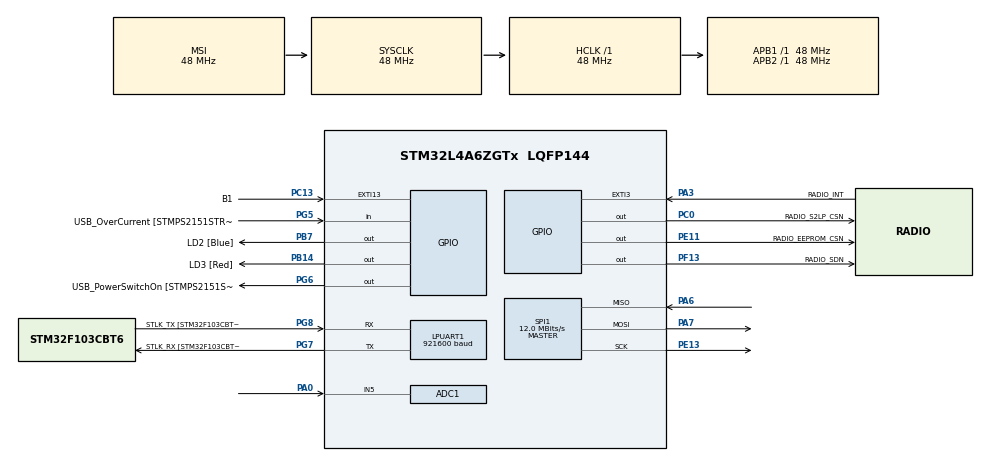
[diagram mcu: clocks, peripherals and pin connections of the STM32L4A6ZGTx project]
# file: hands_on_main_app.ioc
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ADC1.Channel-0\#ChannelRegularConversion=ADC_CHANNEL_5
ADC1.ClockPrescaler=ADC_CLOCK_ASYNC_DIV10
ADC1.DMAContinuousRequests=ENABLE
ADC1.ExternalTrigConv=ADC_EXTERNALTRIG_T3_TRGO
ADC1.NbrOfConversionFlag=1
ADC1.OffsetNumber-0\#ChannelRegularConversion=ADC_OFFSET_NONE
ADC1.Rank-0\#ChannelRegularConversion=1
ADC1.SamplingTime-0\#ChannelRegularConversion=ADC_SAMPLETIME_2CYCLES_5
ADC1.master=1
Dma.ADC1.0.Direction=DMA_PERIPH_TO_MEMORY
Dma.ADC1.0.Instance=DMA1_Channel1
Dma.ADC1.0.MemDataAlignment=DMA_MDATAALIGN_HALFWORD
Dma.ADC1.0.MemInc=DMA_MINC_ENABLE
Dma.ADC1.0.Mode=DMA_CIRCULAR
Dma.ADC1.0.PeriphDataAlignment=DMA_PDATAALIGN_HALFWORD
Dma.ADC1.0.PeriphInc=DMA_PINC_DISABLE
Dma.ADC1.0.Priority=DMA_PRIORITY_LOW
Dma.Request0=ADC1
LPUART1.AutoBaudRateEnableParam=UART_ADVFEATURE_AUTOBAUDRATE_DISABLE
LPUART1.BaudRate=921600
LPUART1.DMADisableonRxErrorParam=UART_ADVFEATURE_DMA_ENABLEONRXERROR
LPUART1.DataInvertParam=UART_ADVFEATURE_DATAINV_DISABLE
LPUART1.MSBFirstParam=UART_ADVFEATURE_MSBFIRST_DISABLE
LPUART1.Mode=UART_MODE_TX_RX
LPUART1.OneBitSampling=UART_ONE_BIT_SAMPLE_DISABLE
LPUART1.OverrunDisableParam=UART_ADVFEATURE_OVERRUN_ENABLE
LPUART1.Parity=UART_PARITY_NONE
LPUART1.RxPinLevelInvertParam=UART_ADVFEATURE_RXINV_DISABLE
LPUART1.StopBits=UART_STOPBITS_1
LPUART1.SwapParam=UART_ADVFEATURE_SWAP_DISABLE
LPUART1.TxPinLevelInvertParam=UART_ADVFEATURE_TXINV_DISABLE
LPUART1.WordLength=UART_WORDLENGTH_8B
Mcu.Family=STM32L4
Mcu.Name=STM32L4A6ZGTx
Mcu.Package=LQFP144
NVIC.DMA1_Channel1_IRQn=true\:1\:0\:true\:false\:true\:false\:true\:true
NVIC.EXTI15_10_IRQn=true\:0\:0\:false\:false\:true\:true\:true\:true
NVIC.EXTI3_IRQn=true\:0\:0\:false\:false\:true\:true\:true\:true
NVIC.PriorityGroup=NVIC_PRIORITYGROUP_4
NVIC.TIM3_IRQn=true\:0\:0\:true\:false\:true\:true\:true\:true
PA0.Signal=ADCx_IN5
PA10.GPIO_Label=USB_ID
PA10.Signal=USB_OTG_FS_ID
PA11.GPIO_Label=USB_DM
PA11.Signal=USB_OTG_FS_DM
PA12.GPIO_Label=USB_DP
PA12.Signal=USB_OTG_FS_DP
PA13\ (JTMS/SWDIO).GPIO_Label=TMS
PA13\ (JTMS/SWDIO).Mode=Trace_Asynchronous_SW
PA13\ (JTMS/SWDIO).Signal=SYS_JTMS-SWDIO
PA14\ (JTCK/SWCLK).GPIO_Label=TCK
PA14\ (JTCK/SWCLK).Mode=Trace_Asynchronous_SW
PA14\ (JTCK/SWCLK).Signal=SYS_JTCK-SWCLK
PA3.GPIO_Label=RADIO_INT
PA3.GPIO_ModeDefaultEXTI=GPIO_MODE_IT_FALLING
PA3.Signal=GPXTI3
PA6.Mode=Full_Duplex_Master
PA6.Signal=SPI1_MISO
PA7.Mode=Full_Duplex_Master
PA7.Signal=SPI1_MOSI
PA8.GPIO_Label=USB_SOF [TP1]
PA8.Signal=USB_OTG_FS_SOF
PA9.GPIO_Label=USB_VBUS
PA9.Signal=USB_OTG_FS_VBUS
PB14.GPIO_Label=LD3 [Red]
PB14.Signal=GPIO_Output
PB3\ (JTDO/TRACESWO).GPIO_Label=SWO
PB3\ (JTDO/TRACESWO).Mode=Trace_Asynchronous_SW
PB3\ (JTDO/TRACESWO).Signal=SYS_JTDO-SWO
PB7.GPIO_Label=LD2 [Blue]
PB7.Signal=GPIO_Output
PC0.GPIO_Label=RADIO_S2LP_CSN
PC0.GPIO_Speed=GPIO_SPEED_FREQ_VERY_HIGH
PC0.PinState=GPIO_PIN_SET
PC0.Signal=GPIO_Output
PC13.GPIO_Label=B1
PC13.GPIO_ModeDefaultEXTI=GPIO_MODE_IT_RISING
PC13.Signal=GPXTI13
PC14-OSC32_IN\ (PC14).Mode=LSE-External-Oscillator
PC14-OSC32_IN\ (PC14).Signal=RCC_OSC32_IN
PC15-OSC32_OUT\ (PC15).Mode=LSE-External-Oscillator
PC15-OSC32_OUT\ (PC15).Signal=RCC_OSC32_OUT
PE11.GPIO_Label=RADIO_EEPROM_CSN
PE11.PinState=GPIO_PIN_SET
PE11.Signal=GPIO_Output
PE13.Mode=Full_Duplex_Master
PE13.Signal=SPI1_SCK
PF13.GPIO_Label=RADIO_SDN
PF13.PinState=GPIO_PIN_SET
PF13.Signal=GPIO_Output
PG5.GPIO_Label=USB_OverCurrent [STMPS2151STR_FAULT]
PG5.Signal=GPIO_Input
PG6.GPIO_Label=USB_PowerSwitchOn [STMPS2151STR_EN]
PG6.Signal=GPIO_Output
PG7.GPIO_Label=STLK_RX [STM32F103CBT6_PA3]
PG7.Mode=Asynchronous
PG7.Signal=LPUART1_TX
PG8.GPIO_Label=STLK_TX [STM32F103CBT6_PA2]
PG8.Mode=Asynchronous
PG8.Signal=LPUART1_RX
PH1-OSC_OUT\ (PH1).Signal=RCC_OSC_OUT
ProjectManager.HeapSize=0x200
ProjectManager.StackSize=0x400
ProjectManager.TargetToolchain=STM32CubeIDE
RCC.ADCCLockSelection=RCC_ADCCLKSOURCE_SYSCLK
RCC.ADCFreq_Value=48000000
RCC.AHBFreq_Value=48000000
RCC.APB1Freq_Value=48000000
RCC.APB1TimFreq_Value=48000000
RCC.APB2Freq_Value=48000000
RCC.APB2TimFreq_Value=48000000
RCC.CortexFreq_Value=48000000
RCC.FLatency=FLASH_LATENCY_2
RCC.HCLKFreq_Value=48000000
RCC.HSE_VALUE=8000000
RCC.HSI48_VALUE=48000000
RCC.HSI_VALUE=16000000
RCC.LPUART1CLockSelection=RCC_LPUART1CLKSOURCE_SYSCLK
RCC.MSIClockRange=RCC_MSIRANGE_11
RCC.MSI_VALUE=48000000
RCC.PLLN=24
RCC.PLLSAI1N=24
RCC.SYSCLKFreq_VALUE=48000000
RCC.USBFreq_Value=576000000
RCC.VCOOutputFreq_Value=1152000000
SH.ADCx_IN5.0=ADC1_IN5,IN5-Single-Ended
SPI1.BaudRatePrescaler=SPI_BAUDRATEPRESCALER_4
SPI1.CalculateBaudRate=12.0 MBits/s
SPI1.DataSize=SPI_DATASIZE_8BIT
SPI1.Direction=SPI_DIRECTION_2LINES
SPI1.Mode=SPI_MODE_MASTER
SPI1.VirtualType=VM_MASTER
TIM3.Period=195
TIM3.Prescaler=23
TIM3.TIM_MasterOutputTrigger=TIM_TRGO_UPDATE
VP_TIM3_VS_ClockSourceINT.Mode=Internal
board=NUCLEO-L4A6ZG

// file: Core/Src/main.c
/* USER CODE BEGIN Header */
/**
  ******************************************************************************
  * @file           : main.c
  * @brief          : Main program body
  ******************************************************************************
  * @attention
  *
  * <h2><center>&copy; Copyright (c) 2021 STMicroelectronics.
  * All rights reserved.</center></h2>
  *
  * This software component is licensed by ST under BSD 3-Clause license,
  * the "License"; You may not use this file except in compliance with the
  * License. You may obtain a copy of the License at:
  *                        opensource.org/licenses/BSD-3-Clause
  *
  ******************************************************************************
  */
/* USER CODE END Header */
#include "main.h"
#include "adc.h"
#include "dma.h"
#include "spi.h"
#include "tim.h"
#include "gpio.h"

/* USER CODE BEGIN Includes */
#include <stdio.h>
#include <string.h>
#include "arm_math.h"
#include "adc_dblbuf.h"
#include "retarget.h"
//#include "s2lp.h"
//#include "spectrogram.h"
//#include "eval_radio.h"
//#include "packet.h"
#include "config.h"
#include "utils.h"
#include "usart.h"

/* USER CODE END Includes */

/* USER CODE BEGIN PV */

volatile uint8_t btn_press;

/* USER CODE END PV */

void SystemClock_Config(void);

/* USER CODE BEGIN 0 */

void HAL_GPIO_EXTI_Callback(uint16_t GPIO_Pin)
{
	btn_press = 1;
}

/* USER CODE END 0 */

int main(void)
{

  /* MCU Configuration--------------------------------------------------------*/

  /* Reset of all peripherals, Initializes the Flash interface and the Systick. */
  HAL_Init();

  /* Configure the system clock */
  SystemClock_Config();

  /* Initialize all configured peripherals */
  MX_GPIO_Init();
  MX_DMA_Init();
  MX_SPI1_Init();
  MX_TIM3_Init();
  MX_ADC1_Init();
  /* USER CODE BEGIN 2 */

  MX_LPUART1_UART_Init();

  RetargetInit(&hlpuart1);
  printf("\nHello world\n");

  if (HAL_ADCEx_Calibration_Start(&hadc1, ADC_SINGLE_ENDED) != HAL_OK) {
	  DEBUG_PRINT("Error while calibrating the ADC\r\n");
	  Error_Handler();
  }
  if (HAL_TIM_Base_Start(&htim3) != HAL_OK) {
	  DEBUG_PRINT("Error while enabling timer TIM3\r\n");
	  Error_Handler();
  }
  /* USER CODE END 2 */

  /* Infinite loop */
  /* USER CODE BEGIN WHILE */

	btn_press = 0;

	while (1)
	{
	  while (!btn_press) {
		  HAL_GPIO_WritePin(GPIOB, LD2_Pin, GPIO_PIN_SET);
		  HAL_Delay(200);
		  HAL_GPIO_WritePin(GPIOB, LD2_Pin, GPIO_PIN_RESET);
		  HAL_Delay(200);
	  }
	  btn_press = 0;
	  StartADCAcq();
	}

    /* USER CODE END WHILE */

}

void SystemClock_Config(void)
{
  RCC_OscInitTypeDef RCC_OscInitStruct = {0};
  RCC_ClkInitTypeDef RCC_ClkInitStruct = {0};

  /** Configure the main internal regulator output voltage
  */
  if (HAL_PWREx_ControlVoltageScaling(PWR_REGULATOR_VOLTAGE_SCALE1) != HAL_OK)
  {
    Error_Handler();
  }
  /** Initializes the RCC Oscillators according to the specified parameters
  * in the RCC_OscInitTypeDef structure.
  */
  RCC_OscInitStruct.OscillatorType = RCC_OSCILLATORTYPE_MSI;
  RCC_OscInitStruct.MSIState = RCC_MSI_ON;
  RCC_OscInitStruct.MSICalibrationValue = 0;
  RCC_OscInitStruct.MSIClockRange = RCC_MSIRANGE_11;
  RCC_OscInitStruct.PLL.PLLState = RCC_PLL_NONE;
  if (HAL_RCC_OscConfig(&RCC_OscInitStruct) != HAL_OK)
  {
    Error_Handler();
  }
  /** Initializes the CPU, AHB and APB buses clocks
  */
  RCC_ClkInitStruct.ClockType = RCC_CLOCKTYPE_HCLK|RCC_CLOCKTYPE_SYSCLK
                              |RCC_CLOCKTYPE_PCLK1|RCC_CLOCKTYPE_PCLK2;
  RCC_ClkInitStruct.SYSCLKSource = RCC_SYSCLKSOURCE_MSI;
  RCC_ClkInitStruct.AHBCLKDivider = RCC_SYSCLK_DIV1;
  RCC_ClkInitStruct.APB1CLKDivider = RCC_HCLK_DIV1;
  RCC_ClkInitStruct.APB2CLKDivider = RCC_HCLK_DIV1;

  if (HAL_RCC_ClockConfig(&RCC_ClkInitStruct, FLASH_LATENCY_2) != HAL_OK)
  {
    Error_Handler();
  }
}

void Error_Handler(void)
{
  /* USER CODE BEGIN Error_Handler_Debug */
  __disable_irq();
  DEBUG_PRINT("Entering error Handler\r\n");
  while (1)
  {
	  // Blink LED3 (red)
	  HAL_GPIO_WritePin(GPIOB, LD3_Pin, GPIO_PIN_SET);
	  for (volatile int i=0; i < SystemCoreClock/200; i++);
	  HAL_GPIO_WritePin(GPIOB, LD3_Pin, GPIO_PIN_RESET);
	  for (volatile int i=0; i < SystemCoreClock/200; i++);
  }
  /* USER CODE END Error_Handler_Debug */
}

#ifdef  USE_FULL_ASSERT
/**
  * @brief  Reports the name of the source file and the source line number
  *         where the assert_param error has occurred.
  * @param  file: pointer to the source file name
  * @param  line: assert_param error line source number
  * @retval None
  */
void assert_failed(uint8_t *file, uint32_t line)
{
  /* USER CODE BEGIN 6 */
  /* User can add his own implementation to report the file name and line number,
     ex: DEBUG_PRINT("Wrong parameters value: file %s on line %d\r\n", file, line) */
  /* USER CODE END 6 */
}
#endif /* USE_FULL_ASSERT */

/************************ (C) COPYRIGHT STMicroelectronics *****END OF FILE****/
